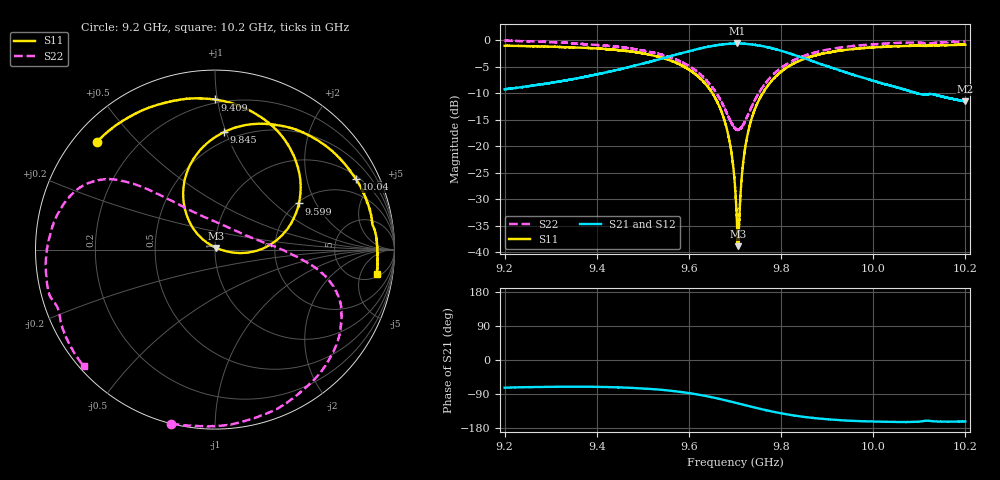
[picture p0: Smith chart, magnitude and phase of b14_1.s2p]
!Agilent Technologies,N5242A,MY51221714,A.09.90.19
!Agilent N5242A: A.09.90.19
!Date: Tuesday, March 26, 2024 16:50:09
!Correction: S11(Full 2 Port(1,2))
!S21(Full 2 Port(1,2))
!S12(Full 2 Port(1,2))
!S22(Full 2 Port(1,2))
!S2P File: Measurements: S11, S21, S12, S22:
# Hz S  dB  R 50
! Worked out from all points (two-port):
!   16001 points, 9.2 GHz to 10.2 GHz, reference 50 ohm
!   highest |S21| = -0.57 dB at 9.704 GHz (marker M1); lowest = -11.5 dB at 10.2 GHz (marker M2)
!   |S21| within 3 dB of the highest: 9.534797 GHz to 9.534872 GHz (75.13 kHz wide, 0.000788 % of centre); 9.535 GHz to 9.857 GHz (322 MHz wide, 3.32 % of centre)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
!   lowest |S11| = -38.9 dB at 9.706 GHz (marker M3), VSWR 1.02, Z = 50.6 + j0.95 ohm
!   |S11| at or under -10 dB: 9.650959 GHz to 9.651034 GHz (74.86 kHz wide, 0.000776 % of centre); 9.651 GHz to 9.76 GHz (108.8 MHz wide, 1.12 % of centre); 9.76004 GHz to 9.760079 GHz (38.11 kHz wide, 0.000391 % of centre)
!   |S22| runs from -17.0 to 0.0 dB; largest |S21 - S12| = 0.012
!   S11 on the Smith chart (normalised r, x): 9.2 GHz: 0.07, +0.38; 9.409 GHz: 0.18, +0.98; 9.599 GHz: 2.04, +1.47; 9.845 GHz: 0.43, +0.98; 10.04 GHz: 1.14, +3.90; 10.2 GHz: 6, -10
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9.2e9  -1.01 137.8  -9.23 -73.1  -9.21 -73.8  -0.00 -104.1
9.277188e9  -1.13 121.2  -8.33 -71.2  -8.32 -71.9  -0.22 -83.1
9.366688e9  -1.36 100.6  -7.01 -70.6  -6.99 -71.2  -0.66 -59.7
9.408875e9  -1.55 90.0  -6.26 -71.1  -6.23 -71.8  -0.90 -49.2
9.533375e9  -3.09 53.3  -3.61 -77.9  -3.60 -78.6  -2.52 -21.9
9.59925e9  -5.47 28.9  -2.05 -87.2  -2.05 -87.9  -4.78 -10.6
9.66975e9  -13.26 -2.8  -0.79 -103.6  -0.78 -104.2  -11.46 9.6
9.689062e9  -19.54 -9.1  -0.62 -109.3  -0.61 -109.8  -15.05 29.4
9.7e9  -27.54 -5.0  -0.59 -112.5  -0.58 -113.1  -16.58 51.2
9.704188e9  -34.64 16.3  -0.57 -113.8  -0.57 -114.3  -16.86 61.3
9.706375e9  -38.91 55.9  -0.59 -114.5  -0.57 -115.0  -16.87 67.0
9.709375e9  -34.03 119.3  -0.59 -115.4  -0.57 -115.9  -16.84 74.1
9.722062e9  -20.36 139.9  -0.64 -119.2  -0.61 -119.8  -15.22 101.2
9.743625e9  -12.88 131.2  -0.84 -125.8  -0.82 -126.3  -11.17 124.4
9.784688e9  -7.15 111.9  -1.59 -136.9  -1.57 -137.6  -6.30 137.5
9.84475e9  -3.67 85.8  -3.20 -149.3  -3.21 -149.8  -3.07 146.1
9.866688e9  -3.00 77.5  -3.86 -152.6  -3.87 -153.2  -2.43 149.2
9.935375e9  -1.83 54.6  -5.89 -159.4  -5.91 -160.0  -1.25 160.6
1.003338e10  -1.16 28.2  -8.46 -163.2  -8.44 -163.8  -0.56 -179.1
1.003938e10  -1.13 26.7  -8.60 -163.2  -8.59 -163.9  -0.52 -177.8
1.019969e10  -0.82 -8.4  -11.53 -162.3  -11.52 -162.8  -0.19 -138.6
1.02e10  -0.80 -8.5  -11.52 -162.2  -11.53 -162.8  -0.20 -138.4
